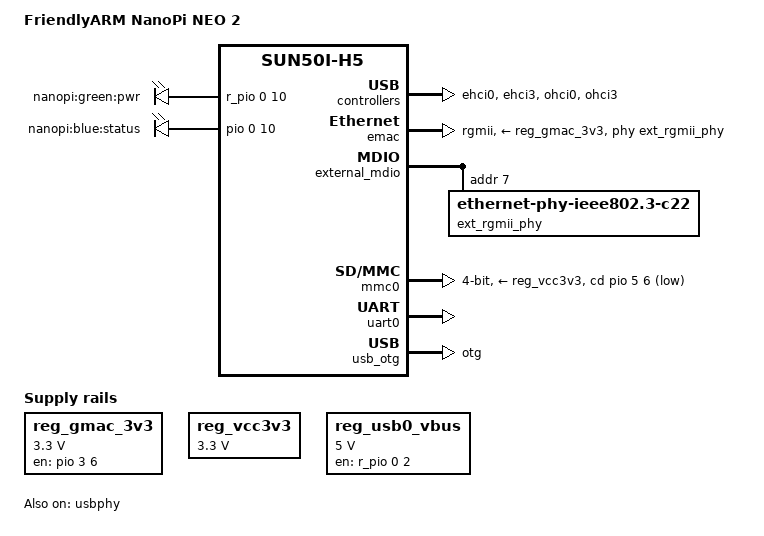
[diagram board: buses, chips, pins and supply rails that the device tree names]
// SPDX-License-Identifier: (GPL-2.0+ OR MIT)
// Copyright (C) 2017 Icenowy Zheng <icenowy@aosc.io>

/dts-v1/;
#include "sun50i-h5.dtsi"

#include <dt-bindings/gpio/gpio.h>

/ {
	model = "FriendlyARM NanoPi NEO 2";
	compatible = "friendlyarm,nanopi-neo2", "allwinner,sun50i-h5";

	aliases {
		ethernet0 = &emac;
		serial0 = &uart0;
	};

	chosen {
		stdout-path = "serial0:115200n8";
	};

	leds {
		compatible = "gpio-leds";

		led-0 {
			label = "nanopi:green:pwr";
			gpios = <&r_pio 0 10 GPIO_ACTIVE_HIGH>;
			default-state = "on";
		};

		led-1 {
			label = "nanopi:blue:status";
			gpios = <&pio 0 10 GPIO_ACTIVE_HIGH>;
		};
	};

	reg_gmac_3v3: gmac-3v3 {
		compatible = "regulator-fixed";
		regulator-name = "gmac-3v3";
		regulator-min-microvolt = <3300000>;
		regulator-max-microvolt = <3300000>;
		startup-delay-us = <100000>;
		enable-active-high;
		gpio = <&pio 3 6 GPIO_ACTIVE_HIGH>;
	};

	reg_vcc3v3: vcc3v3 {
		compatible = "regulator-fixed";
		regulator-name = "vcc3v3";
		regulator-min-microvolt = <3300000>;
		regulator-max-microvolt = <3300000>;
	};

	reg_usb0_vbus: usb0-vbus {
		compatible = "regulator-fixed";
		regulator-name = "usb0-vbus";
		regulator-min-microvolt = <5000000>;
		regulator-max-microvolt = <5000000>;
		enable-active-high;
		gpio = <&r_pio 0 2 GPIO_ACTIVE_HIGH>; /* PL2 */
		status = "okay";
	};
};

&ehci0 {
	status = "okay";
};

&ehci3 {
	status = "okay";
};

&emac {
	pinctrl-names = "default";
	pinctrl-0 = <&emac_rgmii_pins>;
	phy-supply = <&reg_gmac_3v3>;
	phy-handle = <&ext_rgmii_phy>;
	phy-mode = "rgmii";
	status = "okay";
};

&external_mdio {
	ext_rgmii_phy: ethernet-phy@7 {
		compatible = "ethernet-phy-ieee802.3-c22";
		reg = <7>;
	};
};

&mmc0 {
	vmmc-supply = <&reg_vcc3v3>;
	bus-width = <4>;
	cd-gpios = <&pio 5 6 GPIO_ACTIVE_LOW>; /* PF6 */
	status = "okay";
};

&ohci0 {
	status = "okay";
};

&ohci3 {
	status = "okay";
};

&uart0 {
	pinctrl-names = "default";
	pinctrl-0 = <&uart0_pa_pins>;
	status = "okay";
};

&usb_otg {
	dr_mode = "otg";
	status = "okay";
};

&usbphy {
	/* USB Type-A port's VBUS is always on */
	usb0_id_det-gpios = <&pio 6 12 GPIO_ACTIVE_HIGH>; /* PG12 */
	usb0_vbus-supply = <&reg_usb0_vbus>;
	status = "okay";
};
